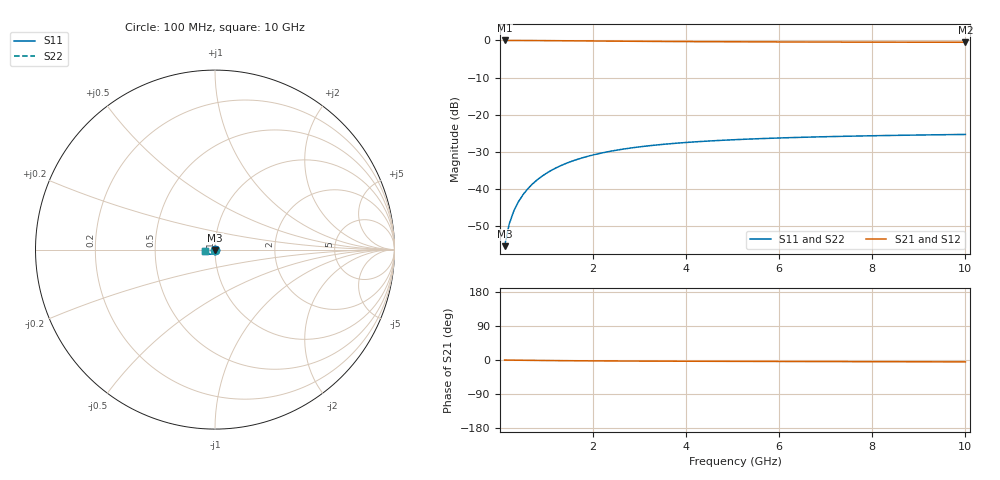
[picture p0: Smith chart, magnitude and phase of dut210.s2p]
! Touchstone file exported from HFSS 2024.1.0
!  File:  C:/UserFiles/LocalFiles/RDL_TSV_Batchsim/temp_TSV1_210_1779386729.aedt
!  Generated:  02:10:12 AM May 22, 2026
!  Design:  TSV1
!  Project:  temp_TSV1_210_1779386729
!  Setup:  Setup1
!  Solution:  Sweep
! Variables:
!  dtsv = 14.74um
!  hbump = 3um
!  htsv = 75.09um
!  lrdl = 252.1521522um
!  p = 40
!  p1 = 56.68um
!  t = 500um
!  trdl = 3um
!  wrdl = 24.89489489um
# GHz S MA R 50.000000
! Terminal data exported
! Port[1] = TSV22_T1
! Port[2] = TSV22_T2
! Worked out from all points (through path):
!   100 points, 100 MHz to 10 GHz, reference 50 ohm
!   highest |S21| = 0.00 dB at 100 MHz (marker M1); lowest = -0.5 dB at 10 GHz (marker M2)
!   lowest |S11| = -55.3 dB at 100 MHz (marker M3), VSWR 1.00, Z = 50 - j0.172 ohm
!   |S11| at or under -10 dB: start of sweep to end of sweep
!   |S22| runs from -55.3 to -25.3 dB; largest |S21 - S12| = 1.2e-14
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0.1  0.001719 -89.4  0.9999 -0.1  0.9999 -0.1  0.001719 -89.4
! Gamma 0 0 0 0
! Port Impedance 50 0 50 0
0.2  0.003437 -92.4  0.9997 -0.3  0.9997 -0.3  0.003437 -92.4
0.3  0.005151 -94.7  0.9994 -0.4  0.9994 -0.4  0.005151 -94.7
0.4  0.006852 -96.9  0.9989 -0.6  0.9989 -0.6  0.006852 -96.9
0.5  0.008533 -98.9  0.9984 -0.7  0.9984 -0.7  0.008533 -98.9
0.6  0.01019 -100.9  0.9978 -0.8  0.9978 -0.8  0.01019 -100.9
0.7  0.01181 -102.9  0.9971 -1.0  0.9971 -1.0  0.01181 -102.9
0.8  0.01339 -104.8  0.9963 -1.1  0.9963 -1.1  0.01339 -104.8
0.9  0.01494 -106.6  0.9955 -1.2  0.9955 -1.2  0.01494 -106.6
1.1  0.0179 -110.2  0.9936 -1.5  0.9936 -1.5  0.0179 -110.2
1.4  0.022 -115.2  0.9905 -1.8  0.9905 -1.8  0.022 -115.2
1.6  0.02449 -118.4  0.9883 -2.0  0.9883 -2.0  0.02449 -118.4
1.8  0.0268 -121.3  0.986 -2.1  0.986 -2.1  0.0268 -121.3
2.1  0.02991 -125.5  0.9827 -2.3  0.9827 -2.3  0.02991 -125.5
2.5  0.03348 -130.4  0.9784 -2.6  0.9784 -2.6  0.03348 -130.4
2.9  0.03648 -134.7  0.9744 -2.8  0.9744 -2.8  0.03648 -134.7
3.4  0.03958 -139.5  0.9701 -3.0  0.9701 -3.0  0.03958 -139.5
4.2  0.0434 -145.8  0.9642 -3.3  0.9642 -3.3  0.0434 -145.8
5.1  0.04655 -151.5  0.9591 -3.6  0.9591 -3.6  0.04655 -151.5
6.7  0.05033 -159.5  0.9527 -4.0  0.9527 -4.0  0.05033 -159.5
8.4  0.0529 -165.9  0.9483 -4.5  0.9483 -4.5  0.0529 -165.9
10  0.05456 -170.9  0.9454 -5.0  0.9454 -5.0  0.05456 -170.9
